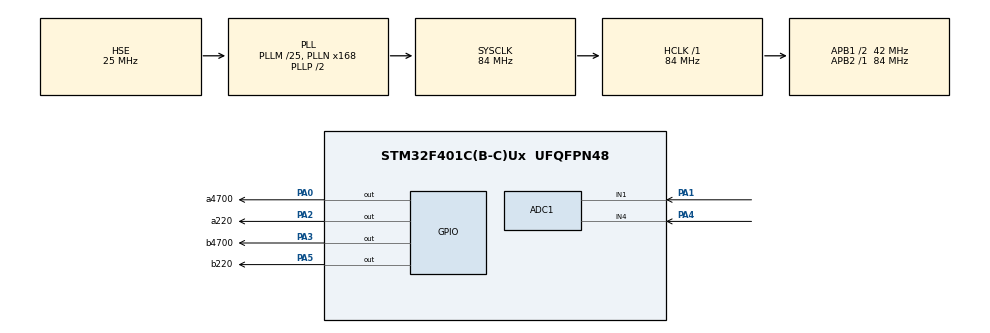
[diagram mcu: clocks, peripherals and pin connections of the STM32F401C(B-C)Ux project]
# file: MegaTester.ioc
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ADC1.Channel-0\#ChannelRegularConversion=ADC_CHANNEL_1
ADC1.Channel-1\#ChannelRegularConversion=ADC_CHANNEL_4
ADC1.NbrOfConversion=2
ADC1.NbrOfConversionFlag=1
ADC1.Rank-0\#ChannelRegularConversion=1
ADC1.Rank-1\#ChannelRegularConversion=2
ADC1.SamplingTime-0\#ChannelRegularConversion=ADC_SAMPLETIME_480CYCLES
ADC1.SamplingTime-1\#ChannelRegularConversion=ADC_SAMPLETIME_480CYCLES
ADC1.master=1
Dma.ADC1.0.Direction=DMA_PERIPH_TO_MEMORY
Dma.ADC1.0.FIFOMode=DMA_FIFOMODE_DISABLE
Dma.ADC1.0.Instance=DMA2_Stream0
Dma.ADC1.0.MemDataAlignment=DMA_MDATAALIGN_HALFWORD
Dma.ADC1.0.MemInc=DMA_MINC_ENABLE
Dma.ADC1.0.Mode=DMA_CIRCULAR
Dma.ADC1.0.PeriphDataAlignment=DMA_PDATAALIGN_HALFWORD
Dma.ADC1.0.PeriphInc=DMA_PINC_DISABLE
Dma.ADC1.0.Priority=DMA_PRIORITY_LOW
Dma.Request0=ADC1
Mcu.Family=STM32F4
Mcu.Name=STM32F401C(B-C)Ux
Mcu.Package=UFQFPN48
NVIC.DMA2_Stream0_IRQn=true\:0\:0\:false\:false\:true\:false\:true\:true
NVIC.PriorityGroup=NVIC_PRIORITYGROUP_4
PA0-WKUP.GPIO_Label=a4700
PA0-WKUP.Signal=GPIO_Output
PA1.Signal=ADCx_IN1
PA13.Mode=Serial_Wire
PA13.Signal=SYS_JTMS-SWDIO
PA14.Mode=Serial_Wire
PA14.Signal=SYS_JTCK-SWCLK
PA2.GPIO_Label=a220
PA2.Signal=GPIO_Output
PA3.GPIO_Label=b4700
PA3.Signal=GPIO_Output
PA4.Signal=ADCx_IN4
PA5.GPIO_Label=b220
PA5.Signal=GPIO_Output
PH0\ -\ OSC_IN.Mode=HSE-External-Oscillator
PH0\ -\ OSC_IN.Signal=RCC_OSC_IN
PH1\ -\ OSC_OUT.Mode=HSE-External-Oscillator
PH1\ -\ OSC_OUT.Signal=RCC_OSC_OUT
ProjectManager.HeapSize=0x200
ProjectManager.StackSize=0x400
ProjectManager.TargetToolchain=STM32CubeIDE
RCC.48MHZClocksFreq_Value=42000000
RCC.AHBFreq_Value=84000000
RCC.APB1CLKDivider=RCC_HCLK_DIV2
RCC.APB1Freq_Value=42000000
RCC.APB1TimFreq_Value=84000000
RCC.APB2Freq_Value=84000000
RCC.APB2TimFreq_Value=84000000
RCC.CortexFreq_Value=84000000
RCC.HCLKFreq_Value=84000000
RCC.HSE_VALUE=25000000
RCC.HSI_VALUE=16000000
RCC.LSE_VALUE=32768
RCC.PLLM=25
RCC.PLLN=168
RCC.PLLSourceVirtual=RCC_PLLSOURCE_HSE
RCC.SYSCLKFreq_VALUE=84000000
RCC.SYSCLKSource=RCC_SYSCLKSOURCE_PLLCLK
RCC.VCOOutputFreq_Value=168000000
SH.ADCx_IN1.0=ADC1_IN1,IN1
SH.ADCx_IN4.0=ADC1_IN4,IN4
board=custom

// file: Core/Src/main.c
/* USER CODE BEGIN Header */
/**
  ******************************************************************************
  * @file           : main.c
  * @brief          : Main program body
  ******************************************************************************
  * @attention
  *
  * Copyright (c) 2022 STMicroelectronics.
  * All rights reserved.
  *
  * This software is licensed under terms that can be found in the LICENSE file
  * in the root directory of this software component.
  * If no LICENSE file comes with this software, it is provided AS-IS.
  *
  ******************************************************************************
  */
/* USER CODE END Header */
#include "main.h"

/* USER CODE BEGIN Includes */
#include "stdbool.h"
/* USER CODE END Includes */

/* USER CODE BEGIN PD */
#define CountADC 2
#define Rref1 4360
#define Rref2 218
#define Rthr 980 //threshoold os resistanve for swap threshoold of dimension
/* USER CODE END PD */

ADC_HandleTypeDef hadc1;
DMA_HandleTypeDef hdma_adc1;

/* USER CODE BEGIN PV */
uint16_t adc_values[CountADC];
bool adcReady = false;
/* USER CODE END PV */

void SystemClock_Config(void);
static void MX_GPIO_Init(void);
static void MX_DMA_Init(void);
static void MX_ADC1_Init(void);
/* USER CODE BEGIN PFP */
double readResistance(uint8_t numConv);
/* USER CODE END PFP */

int main(void)
{

  /* MCU Configuration--------------------------------------------------------*/

  /* Reset of all peripherals, Initializes the Flash interface and the Systick. */
  HAL_Init();

  /* Configure the system clock */
  SystemClock_Config();

  /* Initialize all configured peripherals */
  MX_GPIO_Init();
  MX_DMA_Init();
  MX_ADC1_Init();

  /* Infinite loop */
  while (1)
  {

    /* USER CODE BEGIN 3 */
	  double resistance = readResistance(50);
	  HAL_Delay(1);
  }
  /* USER CODE END 3 */
}

void SystemClock_Config(void)
{
  RCC_OscInitTypeDef RCC_OscInitStruct = {0};
  RCC_ClkInitTypeDef RCC_ClkInitStruct = {0};

  /** Configure the main internal regulator output voltage
  */
  __HAL_RCC_PWR_CLK_ENABLE();
  __HAL_PWR_VOLTAGESCALING_CONFIG(PWR_REGULATOR_VOLTAGE_SCALE2);

  /** Initializes the RCC Oscillators according to the specified parameters
  * in the RCC_OscInitTypeDef structure.
  */
  RCC_OscInitStruct.OscillatorType = RCC_OSCILLATORTYPE_HSE;
  RCC_OscInitStruct.HSEState = RCC_HSE_ON;
  RCC_OscInitStruct.PLL.PLLState = RCC_PLL_ON;
  RCC_OscInitStruct.PLL.PLLSource = RCC_PLLSOURCE_HSE;
  RCC_OscInitStruct.PLL.PLLM = 25;
  RCC_OscInitStruct.PLL.PLLN = 168;
  RCC_OscInitStruct.PLL.PLLP = RCC_PLLP_DIV2;
  RCC_OscInitStruct.PLL.PLLQ = 4;
  if (HAL_RCC_OscConfig(&RCC_OscInitStruct) != HAL_OK)
  {
    Error_Handler();
  }

  /** Initializes the CPU, AHB and APB buses clocks
  */
  RCC_ClkInitStruct.ClockType = RCC_CLOCKTYPE_HCLK|RCC_CLOCKTYPE_SYSCLK
                              |RCC_CLOCKTYPE_PCLK1|RCC_CLOCKTYPE_PCLK2;
  RCC_ClkInitStruct.SYSCLKSource = RCC_SYSCLKSOURCE_PLLCLK;
  RCC_ClkInitStruct.AHBCLKDivider = RCC_SYSCLK_DIV1;
  RCC_ClkInitStruct.APB1CLKDivider = RCC_HCLK_DIV2;
  RCC_ClkInitStruct.APB2CLKDivider = RCC_HCLK_DIV1;

  if (HAL_RCC_ClockConfig(&RCC_ClkInitStruct, FLASH_LATENCY_2) != HAL_OK)
  {
    Error_Handler();
  }
}

static void MX_ADC1_Init(void)
{

  ADC_ChannelConfTypeDef sConfig = {0};

  /** Configure the global features of the ADC (Clock, Resolution, Data Alignment and number of conversion)
  */
  hadc1.Instance = ADC1;
  hadc1.Init.ClockPrescaler = ADC_CLOCK_SYNC_PCLK_DIV4;
  hadc1.Init.Resolution = ADC_RESOLUTION_12B;
  hadc1.Init.ScanConvMode = ENABLE;
  hadc1.Init.ContinuousConvMode = DISABLE;
  hadc1.Init.DiscontinuousConvMode = DISABLE;
  hadc1.Init.ExternalTrigConvEdge = ADC_EXTERNALTRIGCONVEDGE_NONE;
  hadc1.Init.ExternalTrigConv = ADC_SOFTWARE_START;
  hadc1.Init.DataAlign = ADC_DATAALIGN_RIGHT;
  hadc1.Init.NbrOfConversion = 2;
  hadc1.Init.DMAContinuousRequests = DISABLE;
  hadc1.Init.EOCSelection = ADC_EOC_SINGLE_CONV;
  if (HAL_ADC_Init(&hadc1) != HAL_OK)
  {
    Error_Handler();
  }

  /** Configure for the selected ADC regular channel its corresponding rank in the sequencer and its sample time.
  */
  sConfig.Channel = ADC_CHANNEL_1;
  sConfig.Rank = 1;
  sConfig.SamplingTime = ADC_SAMPLETIME_480CYCLES;
  if (HAL_ADC_ConfigChannel(&hadc1, &sConfig) != HAL_OK)
  {
    Error_Handler();
  }

  /** Configure for the selected ADC regular channel its corresponding rank in the sequencer and its sample time.
  */
  sConfig.Channel = ADC_CHANNEL_4;
  sConfig.Rank = 2;
  if (HAL_ADC_ConfigChannel(&hadc1, &sConfig) != HAL_OK)
  {
    Error_Handler();
  }

}

static void MX_DMA_Init(void)
{

  /* DMA controller clock enable */
  __HAL_RCC_DMA2_CLK_ENABLE();

  /* DMA interrupt init */
  /* DMA2_Stream0_IRQn interrupt configuration */
  HAL_NVIC_SetPriority(DMA2_Stream0_IRQn, 0, 0);
  HAL_NVIC_EnableIRQ(DMA2_Stream0_IRQn);

}

static void MX_GPIO_Init(void)
{
  GPIO_InitTypeDef GPIO_InitStruct = {0};

  /* GPIO Ports Clock Enable */
  __HAL_RCC_GPIOH_CLK_ENABLE();
  __HAL_RCC_GPIOA_CLK_ENABLE();

  /*Configure GPIO pin Output Level */
  HAL_GPIO_WritePin(GPIOA, a4700_Pin|a220_Pin|b4700_Pin|b220_Pin, GPIO_PIN_RESET);

  /*Configure GPIO pins : a4700_Pin a220_Pin b4700_Pin b220_Pin */
  GPIO_InitStruct.Pin = a4700_Pin|a220_Pin|b4700_Pin|b220_Pin;
  GPIO_InitStruct.Mode = GPIO_MODE_OUTPUT_PP;
  GPIO_InitStruct.Pull = GPIO_NOPULL;
  GPIO_InitStruct.Speed = GPIO_SPEED_FREQ_LOW;
  HAL_GPIO_Init(GPIOA, &GPIO_InitStruct);

}

/* USER CODE BEGIN 4 */

void HAL_ADC_ConvCpltCallback(ADC_HandleTypeDef* hadc){
  if(hadc->Instance == ADC1){
	  HAL_ADC_Stop_DMA(&hadc1);
	  adcReady = true;
  }
}

double readResistance(uint8_t numConv){
	//first step
	//	set both of voltage set pin at 1
	HAL_GPIO_WritePin(a4700_GPIO_Port, a4700_Pin, 1);
	HAL_GPIO_WritePin(a220_GPIO_Port, a220_Pin, 1);
	//	set b4700 as ouput 0 and b220 at Hi-z mode
	GPIO_InitTypeDef GPIO_InitStruct;

	GPIO_InitStruct.Pin = b4700_Pin;
	GPIO_InitStruct.Mode = GPIO_MODE_OUTPUT_PP;
	GPIO_InitStruct.Pull = GPIO_NOPULL;
	HAL_GPIO_Init(b4700_GPIO_Port, &GPIO_InitStruct);
	HAL_GPIO_WritePin(b4700_GPIO_Port, b4700_Pin, 0);

	GPIO_InitStruct.Pin = b220_Pin;
	GPIO_InitStruct.Mode = GPIO_MODE_INPUT;
	GPIO_InitStruct.Pull = GPIO_NOPULL;
	HAL_GPIO_Init(b220_GPIO_Port, &GPIO_InitStruct);

	//read ADC
	HAL_ADC_Start_DMA(&hadc1, (uint32_t*) adc_values, CountADC);
	while(!adcReady){}	//wait for end adc conversion
	adcReady = false;

	//calculate resistance
	double resistance = (double)Rref1*(adc_values[0] - adc_values[1])/adc_values[1];

	if (resistance < Rthr){
		// set b220 as output 0 and set b4700 as hi-z state
		GPIO_InitStruct.Pin = b220_Pin;
		GPIO_InitStruct.Mode = GPIO_MODE_OUTPUT_PP;
		GPIO_InitStruct.Pull = GPIO_NOPULL;
		HAL_GPIO_Init(b220_GPIO_Port, &GPIO_InitStruct);
		HAL_GPIO_WritePin(b220_GPIO_Port, b220_Pin, 0);

		GPIO_InitStruct.Pin = b4700_Pin;
		GPIO_InitStruct.Mode = GPIO_MODE_INPUT;
		GPIO_InitStruct.Pull = GPIO_NOPULL;
		HAL_GPIO_Init(b4700_GPIO_Port, &GPIO_InitStruct);

		uint32_t adc_values_sum[2] = {0.0, 0.0};
		//read ADC
		for (uint8_t i = 0; i < numConv; i ++){
			HAL_ADC_Start_DMA(&hadc1, (uint32_t*) adc_values, CountADC);
			while(!adcReady){}	//wait for end adc conversion
			adcReady = false;
			adc_values_sum[0] += adc_values[0];
			adc_values_sum[1] += adc_values[1];
		}
		adc_values_sum[0] /= numConv;
		adc_values_sum[1] /= numConv;
		resistance = (double)Rref2*(adc_values_sum[0] - adc_values_sum[1])/adc_values_sum[1];
	} else {
		uint32_t adc_values_sum[2] = {0.0, 0.0};
		for (uint8_t i = 0; i < numConv; i ++){
			HAL_ADC_Start_DMA(&hadc1, (uint32_t*) adc_values, CountADC);
			while(!adcReady){}	//wait for end adc conversion
			adcReady = false;
			adc_values_sum[0] += adc_values[0];
			adc_values_sum[1] += adc_values[1];
		}
		adc_values_sum[0] /= numConv;
		adc_values_sum[1] /= numConv;
		resistance = (double)Rref1*(adc_values_sum[0] - adc_values_sum[1])/adc_values_sum[1];
	}
	return resistance;

}

/* USER CODE END 4 */

void Error_Handler(void)
{
  __disable_irq();
  while (1)
  {
  }
}
